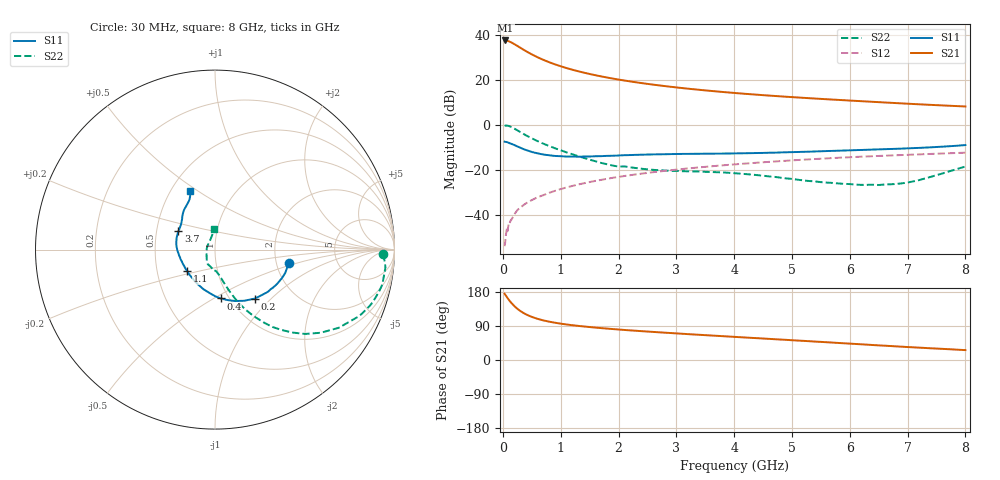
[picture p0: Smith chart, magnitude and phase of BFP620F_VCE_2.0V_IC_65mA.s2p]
! Infineon Technologies  Discrete & RF Semiconductors
! BFP620F
! VCE =  2.0 V,  IC =  65 mA
! Common Emitter S-Parameters:  Dec 2014
# GHz  S  MA  R  50
!  f  S11  S21  S12  S22
! GHz  MAG  ANG  MAG  ANG  MAG  ANG  MAG  ANG
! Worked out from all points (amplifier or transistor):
!   95 points, 30 MHz to 8 GHz, reference 50 ohm
!   highest |S21| = 37.4 dB at 40 MHz (marker M1)
!   |S21| within 3 dB of that: start of sweep to 286.7 MHz
!   unconditionally stable (mu >= 1): 1.692 GHz to end of sweep
!   at 300 MHz: K = 0.54, MSG = 35.5 dB, |S12| = -36.8 dB
!   at 3.3 GHz: K = 1.04, MAG = 16.3 dB, |S12| = -19.2 dB
!   at 8 GHz: K = 1.05, MAG = 8.9 dB, |S12| = -12.5 dB
!   S11 on the Smith chart (normalised r, x): 30 MHz: 2.35, -0.42; 200 MHz: 1.29, -0.80; 400 MHz: 0.91, -0.54; 1.1 GHz: 0.71, -0.18; 3.7 GHz: 0.65, +0.14; 8 GHz: 0.63, +0.46
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0.03  0.4187 -10.1  74.12 174.8  0.002 97.7  0.9378 -1.6
0.04  0.4141 -12.5  74.2 172.5  0.0024 101.3  0.9468 -3.8
0.07  0.4091 -20.5  73.52 165.9  0.005 82.5  0.952 -10.5
0.11  0.3918 -30.6  70.46 157.4  0.0059 82.3  0.9273 -18.3
0.15  0.3734 -40.0  66.73 150.1  0.0078 78.7  0.8811 -25.1
0.2  0.3522 -50.7  61.34 142.1  0.0103 75.7  0.8154 -32.3
0.25  0.3287 -60.1  56.17 135.2  0.0126 74.1  0.7492 -38.2
0.3  0.3082 -68.4  51.28 129.5  0.0144 73.3  0.6867 -43.2
0.4  0.2737 -83.4  42.92 120.5  0.0179 72.1  0.5797 -50.5
0.5  0.2477 -95.1  36.44 113.8  0.0211 72.1  0.4972 -55.7
0.6  0.2303 -106.0  31.44 108.6  0.0244 72.0  0.431 -59.7
0.7  0.2173 -114.8  27.54 104.5  0.0272 71.7  0.3788 -62.8
0.9  0.2019 -129.9  21.89 98.4  0.0338 71.8  0.2998 -67.4
1.1  0.1955 -142.2  18.09 93.7  0.0403 71.2  0.2426 -71.0
1.4  0.1961 -156.3  14.31 88.5  0.0499 70.6  0.1829 -75.7
1.9  0.204 -173.3  10.57 81.7  0.066 68.4  0.1233 -85.9
2.7  0.2197 169.1  7.461 73.1  0.0908 63.9  0.0974 -105.4
3.7  0.2275 153.4  5.471 63.8  0.1218 57.8  0.0878 -119.0
4.1  0.231 148.0  4.948 60.2  0.134 55.3  0.0819 -122.9
5.4  0.254 136.0  3.804 48.6  0.1726 46.4  0.0549 -149.8
6.7  0.288 124.7  3.063 36.9  0.2067 36.9  0.0473 148.9
8  0.3522 112.9  2.536 26.1  0.2385 27.8  0.1174 92.7
